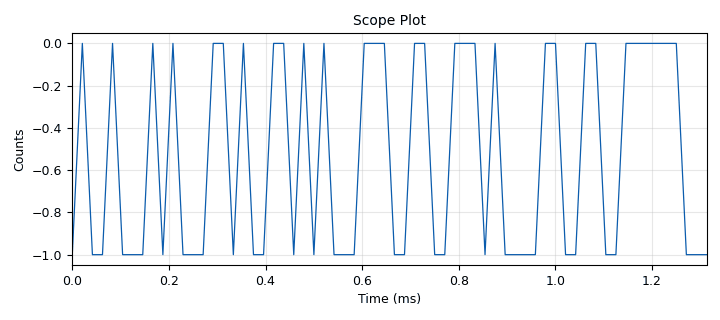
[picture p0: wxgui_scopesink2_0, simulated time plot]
<?xml version='1.0' encoding='utf-8'?>
<flow_graph>
<block>
<key>options</key>
<param><key>id</key><value>top_block</value></param>
<param><key>generate_options</key><value>wx_gui</value></param>
<param><key>category</key><value>Custom</value></param>
</block>
<block>
<key>variable</key>
<param><key>id</key><value>samp_rate</value></param>
<param><key>value</key><value>48000</value></param>
</block>
<block>
<key>audio_sink</key>
<param><key>id</key><value>audio_sink_0</value></param>
<param><key>samp_rate</key><value>samp_rate</value></param>
</block>
<block>
<key>qtgui_histogram_sink_x</key>
<param><key>id</key><value>qtgui_histogram_sink_x_0</value></param>
<param><key>_enabled</key><value>False</value></param>
<param><key>name</key><value>QT GUI Plot</value></param>
<param><key>size</key><value>1024</value></param>
<param><key>bins</key><value>100</value></param>
<param><key>xmin</key><value>-1</value></param>
<param><key>xmax</key><value>1</value></param>
</block>
<block>
<key>wxgui_scopesink2</key>
<param><key>id</key><value>wxgui_scopesink2_0</value></param>
<param><key>type</key><value>float</value></param>
<param><key>title</key><value>Scope Plot</value></param>
<param><key>samp_rate</key><value>samp_rate</value></param>
<param><key>v_scale</key><value>0</value></param>
<param><key>v_offset</key><value>0</value></param>
<param><key>t_scale</key><value>0</value></param>
<param><key>ac_couple</key><value>False</value></param>
<param><key>xy_mode</key><value>False</value></param>
<param><key>num_inputs</key><value>1</value></param>
<param><key>trig_mode</key><value>wxgui.TRIG_MODE_AUTO</value></param>
<param><key>y_axis_label</key><value>Counts</value></param>
</block>
<block>
<key>analog_noise_source_x</key>
<param><key>id</key><value>analog_noise_source_x_0</value></param>
<param><key>_enabled</key><value>False</value></param>
<param><key>type</key><value>float</value></param>
<param><key>noise_type</key><value>analog.GR_GAUSSIAN</value></param>
<param><key>amp</key><value>1</value></param>
<param><key>seed</key><value>42</value></param>
</block>
<block>
<key>blocks_short_to_float</key>
<param><key>id</key><value>blocks_short_to_float_0</value></param>
<param><key>scale</key><value>1</value></param>
</block>
<block>
<key>analog_random_source_x</key>
<param><key>id</key><value>analog_random_source_x_0</value></param>
<param><key>type</key><value>short</value></param>
<param><key>min</key><value>-1</value></param>
<param><key>max</key><value>1</value></param>
<param><key>num_samps</key><value>int(4.096e3)</value></param>
<param><key>repeat</key><value>True</value></param>
</block>
<block>
<key>facsink</key>
<param><key>id</key><value>facsink_0</value></param>
<param><key>title</key><value>Fast AutoCorrelation</value></param>
<param><key>type</key><value>float</value></param>
<param><key>samp_rate</key><value>samp_rate</value></param>
<param><key>baseband_freq</key><value>0</value></param>
<param><key>fac_size</key><value>int(32.768e3)</value></param>
<param><key>fac_rate</key><value>facsink.default_fac_rate</value></param>
<param><key>y_per_div</key><value>10</value></param>
<param><key>ref_level</key><value>50</value></param>
<param><key>peak_hold</key><value>False</value></param>
<param><key>average</key><value>False</value></param>
<param><key>avg_alpha</key><value>0</value></param>
</block>
<connection><source_block_id>analog_random_source_x_0</source_block_id><sink_block_id>blocks_short_to_float_0</sink_block_id><source_key>0</source_key><sink_key>0</sink_key></connection>
<connection><source_block_id>blocks_short_to_float_0</source_block_id><sink_block_id>audio_sink_0</sink_block_id><source_key>0</source_key><sink_key>0</sink_key></connection>
<connection><source_block_id>blocks_short_to_float_0</source_block_id><sink_block_id>wxgui_scopesink2_0</sink_block_id><source_key>0</source_key><sink_key>0</sink_key></connection>
<connection><source_block_id>blocks_short_to_float_0</source_block_id><sink_block_id>facsink_0</sink_block_id><source_key>0</source_key><sink_key>0</sink_key></connection>
<connection><source_block_id>analog_noise_source_x_0</source_block_id><sink_block_id>wxgui_scopesink2_0</sink_block_id><source_key>0</source_key><sink_key>0</sink_key></connection>
<connection><source_block_id>analog_noise_source_x_0</source_block_id><sink_block_id>audio_sink_0</sink_block_id><source_key>0</source_key><sink_key>0</sink_key></connection>
<connection><source_block_id>analog_noise_source_x_0</source_block_id><sink_block_id>facsink_0</sink_block_id><source_key>0</source_key><sink_key>0</sink_key></connection>
<connection><source_block_id>analog_noise_source_x_0</source_block_id><sink_block_id>qtgui_histogram_sink_x_0</sink_block_id><source_key>0</source_key><sink_key>0</sink_key></connection>
</flow_graph>
